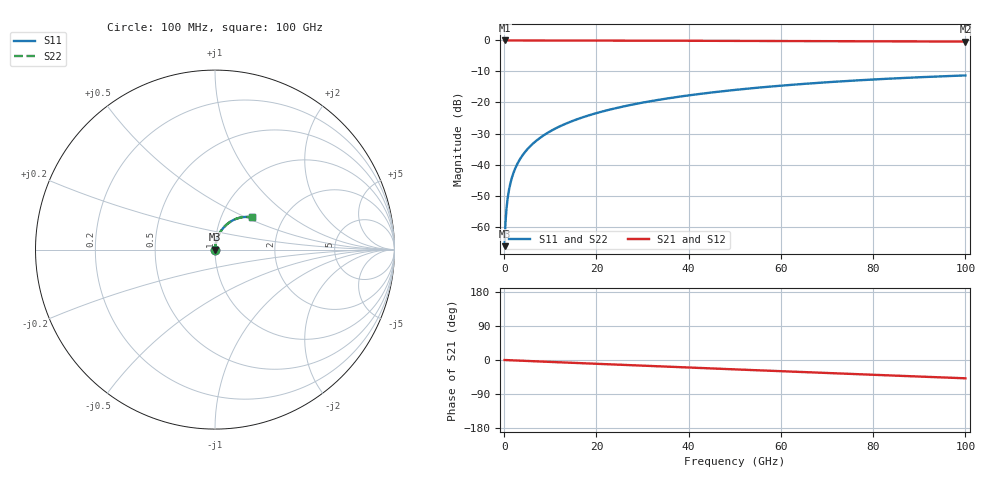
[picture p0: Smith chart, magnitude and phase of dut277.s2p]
! Touchstone file exported from HFSS 2026.1.0
!  File:  C:/ffzhzh/LocalFiles/Ansys_Project_Files/temp_train_TSV_277_1783508783_44152.aedt
!  Generated:  07:07:43 PM Jul  8, 2026
!  Design:  TSV
!  Project:  temp_train_TSV_277_1783508783_44152
! Variables:
!  h_bsmrdl = 2um
!  h_ox = 20um
!  h_rdl = 5um
!  h_sub = 92.17um
!  h_tmrdl = 5um
!  h_tsv = 92.17um
!  h_via = 3um
!  l_bsmrdl = 300um
!  l_sub = 412.82um
!  l_tmrdl = 200um
!  m_sub = 200um
!  pitch = 46.21um
!  r_tsv = 6.41um
!  s_tmrdl = 10um
!  w_bsmrdl = 18um
!  w_sub = 500um
!  w_tmrdl = 12um
!  x_tsv_center1 = 206um
!  x_tsv_center2 = 524um
!  x_tsv_center3 = 736um
!  x_tsv_center4 = 1054um
!  x_tsv_center5 = 1266um
!  x_tsv_center6 = 1584um
# GHz S MA R 50.000000
! Terminal data exported
! Port[1] = TSV1_1_T1
! Port[2] = TSV1_1_T2
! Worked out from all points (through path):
!   1000 points, 100 MHz to 100 GHz, reference 50 ohm
!   highest |S21| = 0.00 dB at 100 MHz (marker M1); lowest = -0.4 dB at 100 GHz (marker M2)
!   group delay of S21, straight-line fit = 1.34 ps
!   lowest |S11| = -66.3 dB at 100 MHz (marker M3), VSWR 1.00, Z = 50 + j0.0387 ohm
!   |S11| at or under -10 dB: start of sweep to end of sweep
!   |S22| runs from -66.3 to -11.3 dB; largest |S21 - S12| = 2.8e-15
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0.1  0.0004835 53.1  0.9997 -0.1  0.9997 -0.1  0.0004835 53.1
! Gamma 0 0 0 0
! Port Impedance 50 0 50 0
0.4  0.001544 77.2  0.9997 -0.2  0.9997 -0.2  0.001544 77.2
0.7  0.002627 81.4  0.9996 -0.4  0.9996 -0.4  0.002627 81.4
0.8  0.002988 82.1  0.9996 -0.4  0.9996 -0.4  0.002988 82.1
1  0.003708 83.0  0.9996 -0.5  0.9996 -0.5  0.003708 83.0
1.3  0.004784 83.7  0.9995 -0.7  0.9995 -0.7  0.004784 83.7
1.7  0.006204 84.1  0.9994 -0.9  0.9994 -0.9  0.006204 84.1
2.3  0.008305 84.4  0.9993 -1.2  0.9993 -1.2  0.008305 84.4
3  0.01072 84.4  0.9992 -1.5  0.9992 -1.5  0.01072 84.4
3.8  0.01346 84.4  0.999 -1.9  0.999 -1.9  0.01346 84.4
4.8  0.01685 84.3  0.9989 -2.4  0.9989 -2.4  0.01685 84.3
6  0.02091 84.0  0.9987 -3.0  0.9987 -3.0  0.02091 84.0
8.8  0.03034 83.1  0.9982 -4.4  0.9982 -4.4  0.03034 83.1
12.4  0.04238 81.6  0.9975 -6.2  0.9975 -6.2  0.04238 81.6
16.8  0.05692 79.7  0.9966 -8.4  0.9966 -8.4  0.05692 79.7
24.2  0.081 76.4  0.9945 -12.1  0.9945 -12.1  0.081 76.4
33.4  0.1101 72.0  0.9914 -16.6  0.9914 -16.6  0.1101 72.0
41.2  0.1338 68.4  0.9882 -20.5  0.9882 -20.5  0.1338 68.4
50.1  0.1597 64.1  0.9841 -24.8  0.9841 -24.8  0.1597 64.1
66.7  0.2038 56.3  0.9756 -32.8  0.9756 -32.8  0.2038 56.3
83.4  0.242 48.6  0.9665 -40.6  0.9665 -40.6  0.242 48.6
100  0.2729 41.0  0.958 -48.3  0.958 -48.3  0.2729 41.0
